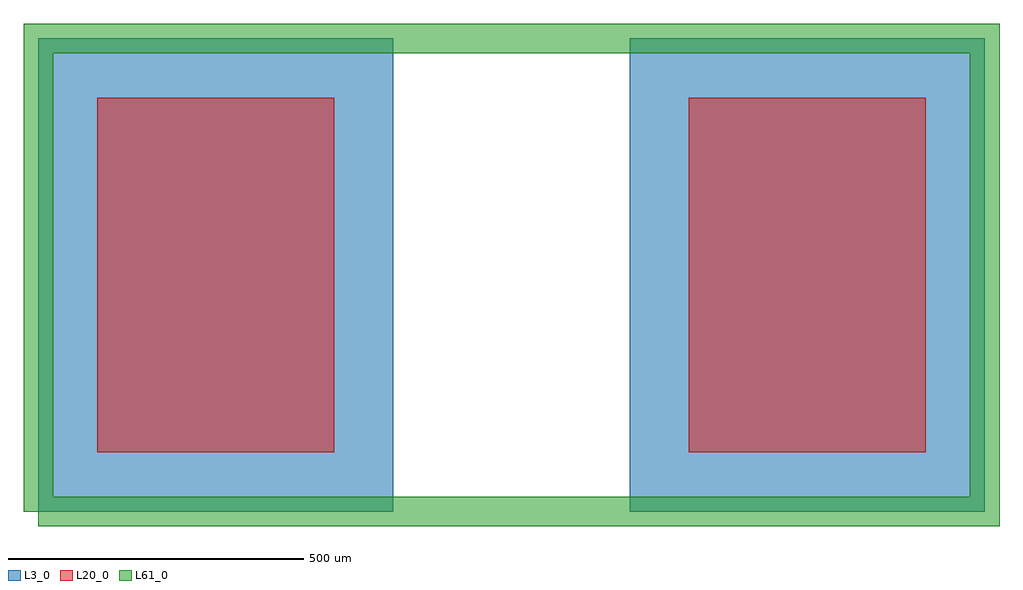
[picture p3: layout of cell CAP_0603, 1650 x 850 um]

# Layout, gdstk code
import gdstk
lib = gdstk.Library(unit=1e-6, precision=1e-09)
def R(c, l, rs):  # rectangles x0, y0, x1, y1
    for r in rs: c.add(gdstk.rectangle(r[:2], r[2:], *l))
L3_0 = (3, 0)
L20_0 = (20, 0)
L61_0 = (61, 0)

cap_0603 = lib.new_cell('CAP_0603')
R(cap_0603, L3_0, [(0,0,600,800), (1000,0,1600,800)])
R(cap_0603, L20_0, [(100,100,500,700), (1100,100,1500,700)])
cap_0603.add(gdstk.FlexPath([(0,0),(1600,0),(1600,800),(0,800),(0,0)], 50, ends="flush", simple_path=True, layer=61, datatype=0))  # L61_0

lib.write_gds('CAP_0603.gds')
